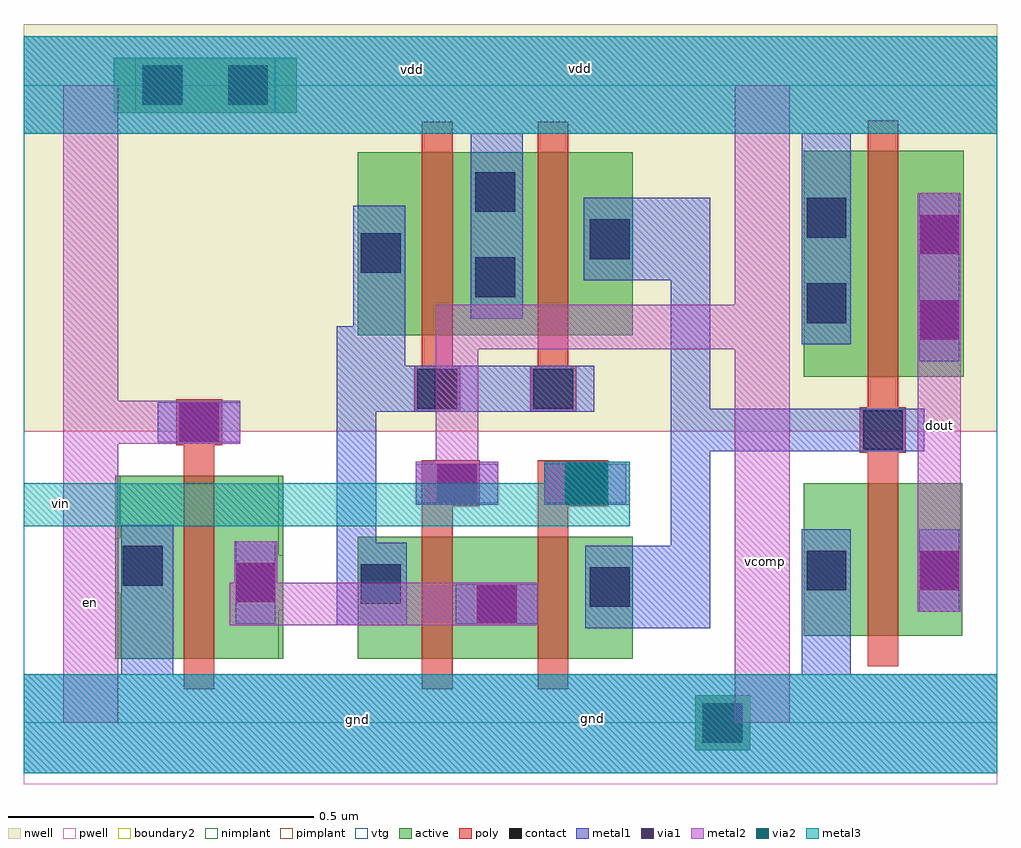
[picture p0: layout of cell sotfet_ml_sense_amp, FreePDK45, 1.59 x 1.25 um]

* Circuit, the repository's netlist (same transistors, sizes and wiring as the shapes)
************************************************************************
* auCdl Netlist:
* 
* Library Name:  openram_sot
* Top Cell Name: sotfet_ml_sense_amp
* View Name:     schematic
* Netlisted on:  Sep 10 18:23:00 2021
************************************************************************

*.EQUATION
*.SCALE METER
*.MEGA
.PARAM



************************************************************************
* Library Name: openram_sot
* Cell Name:    sotfet_ml_sense_amp
* View Name:    schematic
************************************************************************

.SUBCKT sotfet_ml_sense_amp dout en gnd vcomp vdd vin
MM12 dout dout_bar gnd gnd NMOS_VTG W=250.0n L=50n m=1
MM10 net34 vcomp net33 gnd NMOS_VTG W=200n L=50n m=1
MM8 dout_bar vin net33 gnd NMOS_VTG W=200n L=50n m=1
MM9 net33 en gnd gnd NMOS_VTG W=300n L=50n m=1
MM7 net34 net34 vdd vdd PMOS_VTG W=300n L=50n m=1
MM6 dout_bar net34 vdd vdd PMOS_VTG W=300n L=50n m=1
MM11 dout dout_bar vdd vdd PMOS_VTG W=370.0n L=50n m=1
.ENDS

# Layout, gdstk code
from math import pi, radians
import gdstk
lib = gdstk.Library(unit=1e-6, precision=5e-10)
def R(c, l, rs):  # rectangles x0, y0, x1, y1
    for r in rs: c.add(gdstk.rectangle(r[:2], r[2:], *l))
active = (1, 0)
pwell = (2, 0)
nwell = (3, 0)
nimplant = (4, 0)
pimplant = (5, 0)
vtg = (6, 0)
poly = (9, 0)
contact = (10, 0)
metal1 = (11, 0)
via1 = (12, 0)
metal2 = (13, 0)
via2 = (14, 0)
metal3 = (15, 0)
boundary2 = (239, 0)

m2_m1_cdns_631312615530 = lib.new_cell('M2_M1_CDNS_631312615530')
R(m2_m1_cdns_631312615530, metal1, [(-0.0325,-0.0675,0.0325,0.0675)])
R(m2_m1_cdns_631312615530, via1, [(-0.0325,-0.0325,0.0325,0.0325)])
R(m2_m1_cdns_631312615530, metal2, [(-0.035,-0.0675,0.035,0.0675)])

m3_m2_cdns_631312615531 = lib.new_cell('M3_M2_CDNS_631312615531')
R(m3_m2_cdns_631312615531, metal2, [(-0.035,-0.07,0.035,0.07)])
R(m3_m2_cdns_631312615531, via2, [(-0.035,-0.035,0.035,0.035)])
R(m3_m2_cdns_631312615531, metal3, [(-0.035,-0.07,0.035,0.07)])

m1_n_cdns_631312615532 = lib.new_cell('M1_N_CDNS_631312615532')
R(m1_n_cdns_631312615532, active, [(-0.045,-0.045,0.045,0.045)])
R(m1_n_cdns_631312615532, nimplant, [(-0.045,-0.045,0.045,0.045)])
R(m1_n_cdns_631312615532, contact, [(-0.0325,-0.0325,0.0325,0.0325)])
R(m1_n_cdns_631312615532, metal1, [(-0.0325,-0.0675,0.0325,0.0675)])

m2_m1_cdns_631312615533 = lib.new_cell('M2_M1_CDNS_631312615533')
R(m2_m1_cdns_631312615533, metal1, [(-0.0325,-0.1375,0.0325,0.1375)])
R(m2_m1_cdns_631312615533, via1, [(-0.0325,-0.1025,0.0325,-0.0375), (-0.0325,0.0375,0.0325,0.1025)])
R(m2_m1_cdns_631312615533, metal2, [(-0.035,-0.1375,0.035,0.1375)])

ptap_cdns_631312615534 = lib.new_cell('PTAP_CDNS_631312615534')
R(ptap_cdns_631312615534, active, [(-0.045,-0.045,0.045,0.045)])
R(ptap_cdns_631312615534, pwell, [(-0.1,-0.1,0.1,0.1)])
R(ptap_cdns_631312615534, pimplant, [(-0.045,-0.045,0.045,0.045)])
R(ptap_cdns_631312615534, contact, [(-0.0325,-0.0325,0.0325,0.0325)])
R(ptap_cdns_631312615534, metal1, [(-0.0325,-0.0675,0.0325,0.0675)])

ntap_cdns_631312615535 = lib.new_cell('NTAP_CDNS_631312615535')
R(ntap_cdns_631312615535, active, [(-0.15,-0.045,0.15,0.045)])
R(ntap_cdns_631312615535, nwell, [(-0.17,-0.1,0.17,0.1)])
R(ntap_cdns_631312615535, nimplant, [(-0.115,-0.045,0.115,0.045)])
R(ntap_cdns_631312615535, contact, [(-0.1025,-0.0325,-0.0375,0.0325), (0.0375,-0.0325,0.1025,0.0325)])
R(ntap_cdns_631312615535, metal1, [(-0.1375,-0.0325,0.1375,0.0325)])

sotfet_ml_sense_amp = lib.new_cell('sotfet_ml_sense_amp')
R(sotfet_ml_sense_amp, active, [(0.15,0.105,0.425,0.405), (0.5475,0.105,0.9975,0.305), (1.2775,0.1425,1.5375,0.3925), (1.2775,0.5675,1.54,0.9375), (0.5475,0.635,0.9975,0.935)])
R(sotfet_ml_sense_amp, pwell, [(0,-0.1,1.595,0.4775)])
R(sotfet_ml_sense_amp, nwell, [(0,0.4775,1.595,1.145)])
R(sotfet_ml_sense_amp, nimplant, [(0.1575,0.105,0.4175,0.405), (0.5475,0.105,0.9975,0.305), (1.2775,0.1425,1.5375,0.3925)])
R(sotfet_ml_sense_amp, pimplant, [(1.2775,0.5675,1.54,0.9375), (0.5475,0.635,0.9975,0.935)])
R(sotfet_ml_sense_amp, vtg, [(0,0,1.595,1.045)])
R(sotfet_ml_sense_amp, poly, [(0.2625,0.055,0.3125,0.53), (0.6525,0.055,0.7025,0.43), (0.8425,0.055,0.8925,0.43), (1.3825,0.0925,1.4325,0.9875), (0.6725,0.355,0.7475,0.43), (0.8825,0.355,0.9575,0.43), (1.37,0.4425,1.445,0.5175), (0.25,0.455,0.325,0.53), (0.64,0.51,0.715,0.585), (0.6525,0.51,0.7025,0.985), (0.83,0.51,0.905,0.585), (0.8425,0.51,0.8925,0.985)])
R(sotfet_ml_sense_amp, contact, [(0.7425,0.1625,0.8075,0.2275), (0.9275,0.19,0.9925,0.255), (0.5525,0.195,0.6175,0.26), (1.2825,0.2175,1.3475,0.2825), (1.4675,0.2175,1.5325,0.2825), (0.6775,0.36,0.7425,0.425), (0.8875,0.36,0.9525,0.425), (1.375,0.4475,1.44,0.5125), (0.255,0.46,0.32,0.525), (0.645,0.515,0.71,0.58), (0.835,0.515,0.9,0.58), (1.4675,0.6275,1.5325,0.6925), (1.2825,0.655,1.3475,0.72), (0.74,0.6975,0.805,0.7625), (0.5525,0.7375,0.6175,0.8025), (0.9275,0.76,0.9925,0.825), (1.4675,0.7675,1.5325,0.8325), (1.2825,0.795,1.3475,0.86), (0.74,0.8375,0.805,0.9025)])
R(sotfet_ml_sense_amp, metal1, [(0,-0.0825,1.595,0.08), (0.16,0,0.245,0.325), (1.275,0,1.355,0.3175), (0.92,0.155,1.125,0.29), (0.5125,0.16,0.5775,0.65), (0.5775,0.16,0.6275,0.295), (1.06,0.2075,1.125,0.86), (0.6425,0.36,0.7775,0.425), (0.8525,0.36,0.9875,0.425), (1.105,0.445,1.475,0.515), (0.22,0.46,0.355,0.525), (0.54,0.51,0.625,0.8475), (0.61,0.51,0.935,0.585), (1.275,0.62,1.355,1.045), (0.7325,0.6625,0.8175,1.01), (0.9175,0.725,1.1225,0.86), (0,0.965,1.595,1.125)])
R(sotfet_ml_sense_amp, metal2, [(0.065,0,0.155,1.045), (1.165,0,1.255,1.045), (0.3375,0.16,0.8225,0.23), (1.465,0.235,1.535,0.73), (0.675,0.41,0.745,0.6425), (0.1175,0.4575,0.2475,0.5275), (0.675,0.6125,1.2425,0.685)])
R(sotfet_ml_sense_amp, metal3, [(0,-0.0825,1.595,0.08), (0,0.3225,0.9925,0.3925), (0,0.965,1.595,1.125)])
R(sotfet_ml_sense_amp, boundary2, [(0,0,1.595,1.045)])
sotfet_ml_sense_amp.add(gdstk.Reference(m2_m1_cdns_631312615530, (1.5,0.25)))
sotfet_ml_sense_amp.add(gdstk.Reference(m2_m1_cdns_631312615530, (0.92,0.3925), rotation=pi/2))
sotfet_ml_sense_amp.add(gdstk.Reference(m2_m1_cdns_631312615530, (0.775,0.195), rotation=pi/2))
sotfet_ml_sense_amp.add(gdstk.Reference(m2_m1_cdns_631312615530, (0.38,0.23)))
sotfet_ml_sense_amp.add(gdstk.Reference(m2_m1_cdns_631312615530, (0.71,0.3925), rotation=pi/2))
sotfet_ml_sense_amp.add(gdstk.Reference(m2_m1_cdns_631312615530, (0.2875,0.4925), rotation=pi/2))
sotfet_ml_sense_amp.add(gdstk.Reference(m3_m2_cdns_631312615531, (0.9225,0.3925), rotation=pi/2))
sotfet_ml_sense_amp.add(gdstk.Reference(m1_n_cdns_631312615532, (0.195,0.2575)))
sotfet_ml_sense_amp.add(gdstk.Reference(m1_n_cdns_631312615532, (0.38,0.23)))
sotfet_ml_sense_amp.add(gdstk.Reference(m2_m1_cdns_631312615533, (1.5,0.73)))
sotfet_ml_sense_amp.add(gdstk.Reference(ptap_cdns_631312615534, (1.145,0), rotation=pi/2))
sotfet_ml_sense_amp.add(gdstk.Reference(ntap_cdns_631312615535, (0.2975,1.045)))
sotfet_ml_sense_amp.add(gdstk.Label('gnd', (0.5475,0.005), layer=11, texttype=0))
sotfet_ml_sense_amp.add(gdstk.Label('vdd', (0.6375,1.07), layer=11, texttype=0))
sotfet_ml_sense_amp.add(gdstk.Label('gnd', (0.9325,0.0075), layer=15, texttype=0))
sotfet_ml_sense_amp.add(gdstk.Label('vdd', (0.9125,1.0725), layer=15, texttype=0))
sotfet_ml_sense_amp.add(gdstk.Label('vin', (0.06,0.36), layer=15, texttype=0))
sotfet_ml_sense_amp.add(gdstk.Label('en', (0.11,0.1975), layer=13, texttype=0))
sotfet_ml_sense_amp.add(gdstk.Label('dout', (1.5,0.4875), layer=13, texttype=0))
sotfet_ml_sense_amp.add(gdstk.Label('vcomp', (1.215,0.265), layer=13, texttype=0))

lib.write_gds('sotfet_ml_sense_amp.gds')
